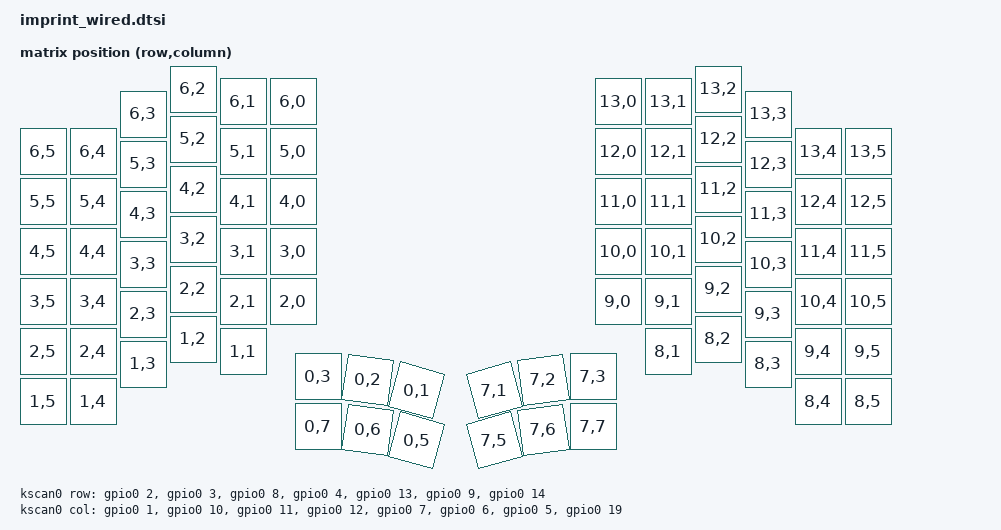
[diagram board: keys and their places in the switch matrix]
/*
 * Shared devicetree for the wired (RP2040, USB) Imprint — spike cut:
 * function row, 5-key bottom row. See
 * cyboard-wiki/projects/wired-zmk-migration.md.
 *
 * Reuses the Imprint geometry from the wireless shield verbatim: the
 * matrix-transform and the physical-layout node are byte-for-byte
 * imprint_function_row_full_bottom_row / physical_layout_0 from
 * boards/shields/imprint, so key positions (and ZMK Studio's key grid) are
 * shared across the wired and wireless Imprint. This shield supplies the
 * RP2040 electrical layer: kscan GPIOs from the wired board's own schematic,
 * and the two halves joined over ZMK's upstream wired split (zmk,wired-split)
 * rather than BLE.
 *
 * Trackball (PMW3360) and RGB underglow (WS2812 over RP2040 PIO) are stubbed
 * for the spike and tracked as their own phases in the migration doc.
 */

#include <dt-bindings/zmk/matrix_transform.h>
#include <dt-bindings/gpio/gpio.h>
#include <physical_layouts.dtsi>

/ {
    chosen {
        zmk,kscan = &kscan0;
        zmk,physical-layout = &physical_layout_imprint_function_row_full_bottom_row;
        // Note: do NOT add a chosen zmk,matrix-transform here. ZMK Studio
        // requires physical layouts and asserts that no matrix-transform is
        // chosen (app/src/physical_layouts.c USE_PHY_LAYOUTS). The transform
        // is still used — the physical-layout node references it directly.
    };

    physical_layout_imprint_function_row_full_bottom_row: physical_layout_0 {
        compatible = "zmk,physical-layout";
        display-name = "Imprint Function Row (5-Key Bottom Row)";
        kscan = <&kscan0>;
        transform = <&imprint_function_row_full_bottom_row>;

        keys  //                     w   h    x    y     rot    rx    ry
            = <&key_physical_attrs 100 100    0  125       0     0     0>
            , <&key_physical_attrs 100 100  100  125       0     0     0>
            , <&key_physical_attrs 100 100  200   50       0     0     0>
            , <&key_physical_attrs 100 100  300    0       0     0     0>
            , <&key_physical_attrs 100 100  400   25       0     0     0>
            , <&key_physical_attrs 100 100  500   25       0     0     0>
            , <&key_physical_attrs 100 100 1150   25       0     0     0>
            , <&key_physical_attrs 100 100 1250   25       0     0     0>
            , <&key_physical_attrs 100 100 1350    0       0     0     0>
            , <&key_physical_attrs 100 100 1450   50       0     0     0>
            , <&key_physical_attrs 100 100 1550  125       0     0     0>
            , <&key_physical_attrs 100 100 1650  125       0     0     0>
            , <&key_physical_attrs 100 100    0  225       0     0     0>
            , <&key_physical_attrs 100 100  100  225       0     0     0>
            , <&key_physical_attrs 100 100  200  150       0     0     0>
            , <&key_physical_attrs 100 100  300  100       0     0     0>
            , <&key_physical_attrs 100 100  400  125       0     0     0>
            , <&key_physical_attrs 100 100  500  125       0     0     0>
            , <&key_physical_attrs 100 100 1150  125       0     0     0>
            , <&key_physical_attrs 100 100 1250  125       0     0     0>
            , <&key_physical_attrs 100 100 1350  100       0     0     0>
            , <&key_physical_attrs 100 100 1450  150       0     0     0>
            , <&key_physical_attrs 100 100 1550  225       0     0     0>
            , <&key_physical_attrs 100 100 1650  225       0     0     0>
            , <&key_physical_attrs 100 100    0  325       0     0     0>
            , <&key_physical_attrs 100 100  100  325       0     0     0>
            , <&key_physical_attrs 100 100  200  250       0     0     0>
            , <&key_physical_attrs 100 100  300  200       0     0     0>
            , <&key_physical_attrs 100 100  400  225       0     0     0>
            , <&key_physical_attrs 100 100  500  225       0     0     0>
            , <&key_physical_attrs 100 100 1150  225       0     0     0>
            , <&key_physical_attrs 100 100 1250  225       0     0     0>
            , <&key_physical_attrs 100 100 1350  200       0     0     0>
            , <&key_physical_attrs 100 100 1450  250       0     0     0>
            , <&key_physical_attrs 100 100 1550  325       0     0     0>
            , <&key_physical_attrs 100 100 1650  325       0     0     0>
            , <&key_physical_attrs 100 100    0  425       0     0     0>
            , <&key_physical_attrs 100 100  100  425       0     0     0>
            , <&key_physical_attrs 100 100  200  350       0     0     0>
            , <&key_physical_attrs 100 100  300  300       0     0     0>
            , <&key_physical_attrs 100 100  400  325       0     0     0>
            , <&key_physical_attrs 100 100  500  325       0     0     0>
            , <&key_physical_attrs 100 100 1150  325       0     0     0>
            , <&key_physical_attrs 100 100 1250  325       0     0     0>
            , <&key_physical_attrs 100 100 1350  300       0     0     0>
            , <&key_physical_attrs 100 100 1450  350       0     0     0>
            , <&key_physical_attrs 100 100 1550  425       0     0     0>
            , <&key_physical_attrs 100 100 1650  425       0     0     0>
            , <&key_physical_attrs 100 100    0  525       0     0     0>
            , <&key_physical_attrs 100 100  100  525       0     0     0>
            , <&key_physical_attrs 100 100  200  450       0     0     0>
            , <&key_physical_attrs 100 100  300  400       0     0     0>
            , <&key_physical_attrs 100 100  400  425       0     0     0>
            , <&key_physical_attrs 100 100  500  425       0     0     0>
            , <&key_physical_attrs 100 100 1150  425       0     0     0>
            , <&key_physical_attrs 100 100 1250  425       0     0     0>
            , <&key_physical_attrs 100 100 1350  400       0     0     0>
            , <&key_physical_attrs 100 100 1450  450       0     0     0>
            , <&key_physical_attrs 100 100 1550  525       0     0     0>
            , <&key_physical_attrs 100 100 1650  525       0     0     0>
            , <&key_physical_attrs 100 100    0  625       0     0     0>
            , <&key_physical_attrs 100 100  100  625       0     0     0>
            , <&key_physical_attrs 100 100  200  550       0     0     0>
            , <&key_physical_attrs 100 100  300  500       0     0     0>
            , <&key_physical_attrs 100 100  400  525       0     0     0>
            , <&key_physical_attrs 100 100 1250  525       0     0     0>
            , <&key_physical_attrs 100 100 1350  500       0     0     0>
            , <&key_physical_attrs 100 100 1450  550       0     0     0>
            , <&key_physical_attrs 100 100 1550  625       0     0     0>
            , <&key_physical_attrs 100 100 1650  625       0     0     0>
            , <&key_physical_attrs 100 100  550  575       0     0     0>
            , <&key_physical_attrs 100 100  550  575     800   600  1340>
            , <&key_physical_attrs 100 100  550  575    1600   600  1340>
            , <&key_physical_attrs 100 100 1100  575 (-1600)  1150  1340>
            , <&key_physical_attrs 100 100 1100  575  (-800)  1150  1340>
            , <&key_physical_attrs 100 100 1100  575       0     0     0>
            , <&key_physical_attrs 100 100  550  675       0     0     0>
            , <&key_physical_attrs 100 100  550  675     800   600  1440>
            , <&key_physical_attrs 100 100  550  675    1600   600  1440>
            , <&key_physical_attrs 100 100 1100  675 (-1600)  1150  1440>
            , <&key_physical_attrs 100 100 1100  675  (-800)  1150  1440>
            , <&key_physical_attrs 100 100 1100  675       0     0     0>
            ;
    };

    /*
     * Imprint "function row, 5-key bottom row" transform (8 cols x 14 rows:
     * 7 physical rows per half). Rows 0-6 are this half; the split peripheral
     * reports rows 7-13. Byte-for-byte the wireless shield's transform of the
     * same name.
     */
    imprint_function_row_full_bottom_row: keymap_transform_0 {
        compatible = "zmk,matrix-transform";
        columns = <8>;
        rows = <14>;
        map = <
RC(6,5) RC(6,4) RC(6,3) RC(6,2) RC(6,1) RC(6,0)                           RC(13,0) RC(13,1) RC(13,2) RC(13,3) RC(13,4) RC(13,5)
RC(5,5) RC(5,4) RC(5,3) RC(5,2) RC(5,1) RC(5,0)                           RC(12,0) RC(12,1) RC(12,2) RC(12,3) RC(12,4) RC(12,5)
RC(4,5) RC(4,4) RC(4,3) RC(4,2) RC(4,1) RC(4,0)                           RC(11,0) RC(11,1) RC(11,2) RC(11,3) RC(11,4) RC(11,5)
RC(3,5) RC(3,4) RC(3,3) RC(3,2) RC(3,1) RC(3,0)                           RC(10,0) RC(10,1) RC(10,2) RC(10,3) RC(10,4) RC(10,5)
RC(2,5) RC(2,4) RC(2,3) RC(2,2) RC(2,1) RC(2,0)                           RC(9,0)  RC(9,1)  RC(9,2)  RC(9,3)  RC(9,4)  RC(9,5)
RC(1,5) RC(1,4) RC(1,3) RC(1,2) RC(1,1)                                            RC(8,1)  RC(8,2)  RC(8,3)  RC(8,4)  RC(8,5)
                                    RC(0,3) RC(0,2) RC(0,1)   RC(7,1) RC(7,2) RC(7,3)
                                    RC(0,7) RC(0,6) RC(0,5)   RC(7,5) RC(7,6) RC(7,7)
        >;
    };

    /*
     * Matrix. Row/col GPIOs are the wired Imprint's own pinout
     * (vial-qmk keyboards/cyboard/info.json): rows GP2,GP3,GP8,GP4,GP13,GP9,
     * GP14; cols GP1,GP10,GP11,GP12,GP7,GP6,GP5,GP19; ROW2COL. RP2040 exposes
     * a single GPIO bank, so each GPn maps to <&gpio0 n>. The exact
     * row/col-to-RC() correspondence must still be bench-verified against the
     * schematic (compile-correct != wiring-correct).
     */
    kscan0: kscan {
        compatible = "zmk,kscan-gpio-matrix";
        label = "KSCAN";
        wakeup-source;
        diode-direction = "row2col";

        col-gpios
            = <&gpio0 1  (GPIO_ACTIVE_HIGH | GPIO_PULL_DOWN)>  // col0 GP1
            , <&gpio0 10 (GPIO_ACTIVE_HIGH | GPIO_PULL_DOWN)>  // col1 GP10
            , <&gpio0 11 (GPIO_ACTIVE_HIGH | GPIO_PULL_DOWN)>  // col2 GP11
            , <&gpio0 12 (GPIO_ACTIVE_HIGH | GPIO_PULL_DOWN)>  // col3 GP12
            , <&gpio0 7  (GPIO_ACTIVE_HIGH | GPIO_PULL_DOWN)>  // col4 GP7
            , <&gpio0 6  (GPIO_ACTIVE_HIGH | GPIO_PULL_DOWN)>  // col5 GP6
            , <&gpio0 5  (GPIO_ACTIVE_HIGH | GPIO_PULL_DOWN)>  // col6 GP5
            , <&gpio0 19 (GPIO_ACTIVE_HIGH | GPIO_PULL_DOWN)>  // col7 GP19
            ;

        row-gpios
            = <&gpio0 2  GPIO_ACTIVE_HIGH>  // row0 GP2
            , <&gpio0 3  GPIO_ACTIVE_HIGH>  // row1 GP3
            , <&gpio0 8  GPIO_ACTIVE_HIGH>  // row2 GP8
            , <&gpio0 4  GPIO_ACTIVE_HIGH>  // row3 GP4
            , <&gpio0 13 GPIO_ACTIVE_HIGH>  // row4 GP13
            , <&gpio0 9  GPIO_ACTIVE_HIGH>  // row5 GP9
            , <&gpio0 14 GPIO_ACTIVE_HIGH>  // row6 GP14
            ;
    };

    /*
     * Wired split over a single UART. The wired Imprint uses a single-wire
     * half-duplex UART on GP28 across the split USB-C connector; this spike
     * references the board's default &uart0 so it compiles on a stock RP2040
     * target. The production board remaps this UART's TX to GP28 (pinctrl) and
     * keeps half-duplex;. Framing/CRC are handled by ZMK's wired split.
     */
    wired_split: wired_split {
        compatible = "zmk,wired-split";
        device = <&uart0>;
        half-duplex;
    };

    /*
     * Keymap-independent ZMK Studio unlock: hold the A- and F-position keys
     * (left home row, matrix row 3) for 3 s. Matrix coordinates are identical
     * across Imprint layouts, so this is stable regardless of the keymap.
     */
    studio_unlock_combo {
        compatible = "zmk,studio-unlock-combo";
        keys = <RC(3,4) RC(3,1)>;
        hold-time-ms = <3000>;
    };
};

&uart0 {
    status = "okay";
};
